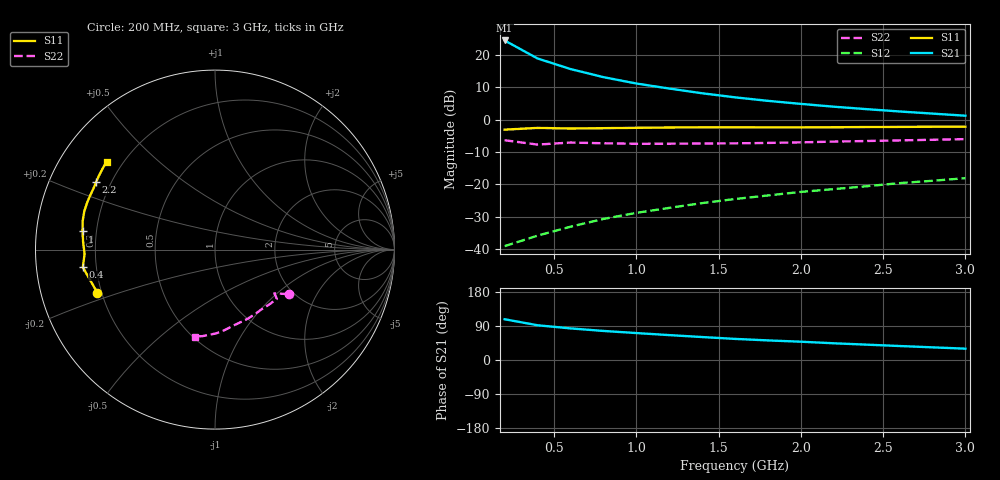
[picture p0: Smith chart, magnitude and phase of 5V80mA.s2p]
#  HZ  S  MA  R  50.0000
! Device:MCH4015
! "! Bias:VCE=5V, IC=80mA  "
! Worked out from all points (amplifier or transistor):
!   15 points, 200 MHz to 3 GHz, reference 50 ohm
!   highest |S21| = 24.5 dB at 200 MHz (marker M1)
!   |S21| within 3 dB of that: start of sweep to 307.7 MHz
!   unconditionally stable (mu >= 1): 329.5 MHz to 2.901 GHz
!   at 600 MHz: K = 1.18, MAG = 21.8 dB, |S12| = -33.2 dB
!   at 1.6 GHz: K = 1.17, MAG = 13.2 dB, |S12| = -24.6 dB
!   at 3 GHz: K = 0.98, MSG = 9.7 dB, |S12| = -18.1 dB
!   S11 on the Smith chart (normalised r, x): 200 MHz: 0.18, -0.17; 400 MHz: 0.15, -0.06; 1 GHz: 0.15, +0.07; 2.2 GHz: 0.14, +0.26; 3 GHz: 0.14, +0.35
2e8  0.698 -159.9  16.74 107.5  0.011 50.5  0.479 -31.2
4e8  0.743 -172.4  8.816 91.7  0.016 61.5  0.41 -36.4
6e8  0.727 -178.1  6.053 83.4  0.022 70.4  0.441 -38.5
8e8  0.736 176.7  4.535 76.7  0.029 74.9  0.43 -45.2
1e9  0.745 172.2  3.614 71.1  0.036 78.1  0.422 -51.6
1.2e9  0.754 168.0  3.019 65.7  0.043 79.6  0.423 -58.1
1.4e9  0.759 163.7  2.552 60.6  0.051 80.4  0.426 -64.8
1.6e9  0.759 159.7  2.207 55.7  0.059 80.6  0.429 -70.8
1.8e9  0.758 156.2  1.948 51.7  0.067 81.0  0.435 -76.0
2e9  0.758 153.1  1.748 48.3  0.076 80.7  0.444 -80.3
2.2e9  0.761 150.5  1.582 44.1  0.084 80.4  0.456 -84.7
2.4e9  0.766 148.0  1.449 40.5  0.093 80.0  0.466 -89.0
2.6e9  0.77 145.3  1.334 36.9  0.104 79.2  0.476 -93.7
2.8e9  0.774 143.0  1.237 33.4  0.113 78.3  0.487 -98.2
3e9  0.776 141.0  1.147 29.9  0.124 76.9  0.498 -103.2
